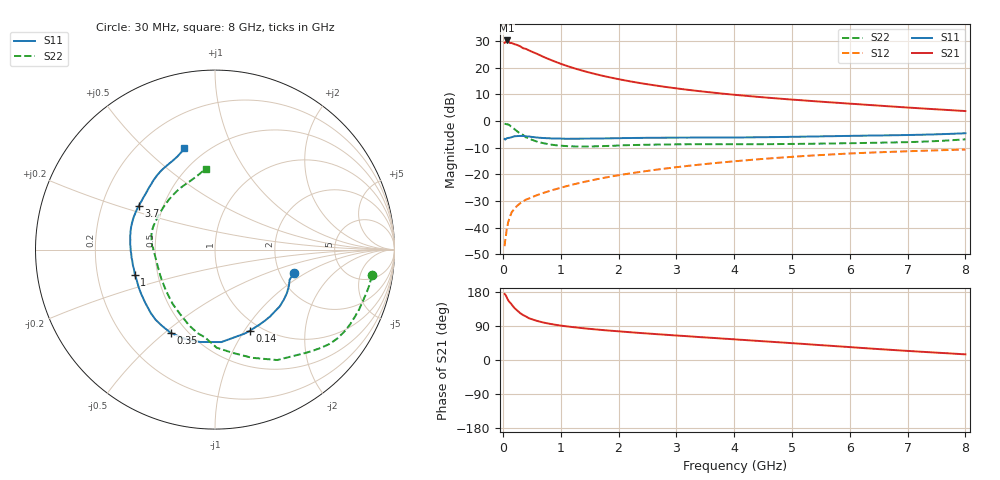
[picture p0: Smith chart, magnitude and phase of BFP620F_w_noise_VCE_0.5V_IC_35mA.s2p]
! Infineon Technologies  Discrete & RF Semiconductors
! BFP620F
! VCE =  0.5 V,  IC =  35 mA
! Common Emitter S-Parameters:  Dec 2014
# GHz  S  MA  R  50
!  f  S11  S21  S12  S22
! GHz  MAG  ANG  MAG  ANG  MAG  ANG  MAG  ANG
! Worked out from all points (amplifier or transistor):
!   95 points, 30 MHz to 8 GHz, reference 50 ohm
!   highest |S21| = 30.2 dB at 70 MHz (marker M1)
!   |S21| within 3 dB of that: start of sweep to 366.2 MHz
!   unconditionally stable (mu >= 1): 1.917 GHz to end of sweep
!   at 300 MHz: K = 0.39, MSG = 29.4 dB, |S12| = -30.8 dB
!   at 3.3 GHz: K = 1.04, MAG = 12.9 dB, |S12| = -16.6 dB
!   at 8 GHz: K = 1.07, MAG = 5.6 dB, |S12| = -10.7 dB
!   lowest NFmin = 1.25 dB at 450 MHz
!   S11 on the Smith chart (normalised r, x): 30 MHz: 2.40, -0.78; 140 MHz: 0.88, -1.06; 350 MHz: 0.41, -0.52; 1 GHz: 0.37, -0.13; 3.7 GHz: 0.36, +0.23; 8 GHz: 0.39, +0.67
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0.03  0.4593 -16.3  29.24 174.3  0.0045 92.0  0.8853 -9.3
0.05  0.4593 -26.3  30.84 170.6  0.0065 78.9  0.8776 -16.1
0.07  0.4744 -36.3  32.35 164.3  0.0102 76.4  0.8694 -22.5
0.09  0.4794 -46.1  31.43 158.3  0.0126 71.1  0.86 -29.1
0.12  0.486 -59.4  29.14 152.0  0.0157 70.8  0.826 -39.6
0.14  0.492 -67.0  28.9 148.8  0.0179 66.8  0.7861 -45.6
0.2  0.5165 -86.1  27.6 137.3  0.0226 62.2  0.7063 -60.6
0.25  0.5214 -99.2  26.53 130.4  0.0259 58.8  0.6366 -71.2
0.3  0.5247 -109.6  25.15 123.6  0.0287 56.6  0.5835 -80.3
0.35  0.5256 -118.1  23.13 118.6  0.0311 56.3  0.5468 -89.0
0.45  0.512 -130.3  21.14 110.3  0.0352 54.7  0.4755 -101.8
0.6  0.4883 -142.9  17.97 102.8  0.0411 54.9  0.4065 -119.1
0.8  0.4738 -154.2  14.37 95.8  0.0485 56.2  0.3651 -135.1
1  0.4676 -162.7  11.84 90.8  0.0559 57.3  0.3441 -147.7
1.4  0.4672 -174.6  8.638 83.7  0.0719 58.2  0.3319 -166.0
1.9  0.474 174.8  6.407 76.9  0.0922 57.8  0.3434 179.8
2.7  0.4855 162.5  4.534 67.8  0.124 54.3  0.3616 168.4
3.7  0.4901 150.0  3.347 57.6  0.1639 48.4  0.3671 157.9
4.1  0.492 145.4  3.034 53.5  0.1792 45.5  0.3665 153.3
5.4  0.5133 132.8  2.345 40.2  0.2268 35.5  0.3754 136.0
6.7  0.5392 120.0  1.879 26.9  0.2636 24.6  0.3954 117.5
8  0.5896 106.9  1.536 14.9  0.2912 14.2  0.4539 96.4
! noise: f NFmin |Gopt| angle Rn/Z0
0.45  1.25  0.11  -173  0.16
0.9  1.28  0.11  -172  0.13
1.5  1.29  0.16  -150  0.12
1.8  1.3  0.16  -150  0.13
1.9  1.3  0.16  -149  0.13
2.4  1.32  0.17  215  0.15
3.5  1.38  0.18  220  0.18
5.5  1.52  0.24  245  0.15
6  1.56  0.25  260  0.17
